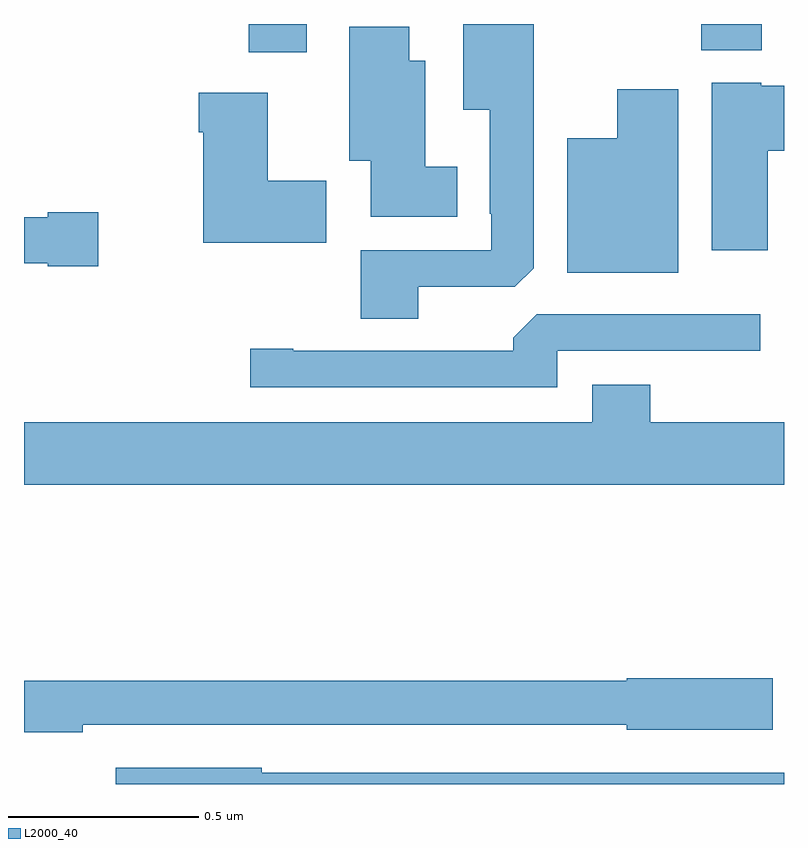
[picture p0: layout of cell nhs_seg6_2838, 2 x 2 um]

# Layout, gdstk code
import gdstk
lib = gdstk.Library(unit=1e-6, precision=1e-09)
def R(c, l, rs):  # rectangles x0, y0, x1, y1
    for r in rs: c.add(gdstk.rectangle(r[:2], r[2:], *l))
def P(c, l, *ps):  # polygons
    for p in ps: c.add(gdstk.Polygon(p, *l))
L2000_40 = (2000, 40)

nhs_seg6_2838 = lib.new_cell('nhs_seg6_2838')
R(nhs_seg6_2838, L2000_40, [(148.592,996.426,148.744,996.5), (149.782,996.431,149.942,996.5)])
P(nhs_seg6_2838, L2000_40, [(149.038,995.808),(149.292,995.808),(149.341,995.857),(149.341,996.5),(149.156,996.5),(149.156,996.275),(149.225,996.275),(149.225,996.001),(149.229,996.001),(149.229,995.904),(148.886,995.904),(148.886,995.725),(149.038,995.725)],
  [(149.14,996.124),(149.056,996.124),(149.056,996.403),(149.014,996.403),(149.014,996.493),(148.856,996.493),(148.856,996.14),(148.913,996.14),(148.913,995.993),(149.14,995.993)],
  [(149.957,996.167),(150,996.167),(150,996.337),(149.94,996.337),(149.94,996.346),(149.81,996.346),(149.81,995.904),(149.957,995.904)],
  [(149.722,996.328),(149.561,996.328),(149.561,996.199),(149.429,996.199),(149.429,995.846),(149.722,995.846)],
  [(148.795,996.087),(148.642,996.087),(148.642,996.319),(148.46,996.319),(148.46,996.215),(148.472,996.215),(148.472,995.924),(148.795,995.924)],
  [(148.195,996.005),(148.062,996.005),(148.062,995.992),(148,995.992),(148,995.87),(148.062,995.87),(148.062,995.863),(148.195,995.863)],
  [(149.403,995.64),(149.938,995.64),(149.938,995.736),(149.349,995.736),(149.288,995.674),(149.288,995.64),(148.708,995.64),(148.708,995.645),(148.596,995.645),(148.596,995.544),(149.403,995.544)],
  [(150,995.452),(149.648,995.452),(149.648,995.551),(149.495,995.551),(149.495,995.452),(148,995.452),(148,995.288),(150,995.288)],
  [(148.154,994.656),(149.586,994.656),(149.586,994.643),(149.971,994.643),(149.971,994.778),(149.586,994.778),(149.586,994.772),(148,994.772),(148,994.636),(148.154,994.636)],
  [(150,994.53),(148.626,994.53),(148.626,994.543),(148.242,994.543),(148.242,994.5),(150,994.5)])

lib.write_gds('nhs_seg6_2838.gds')
